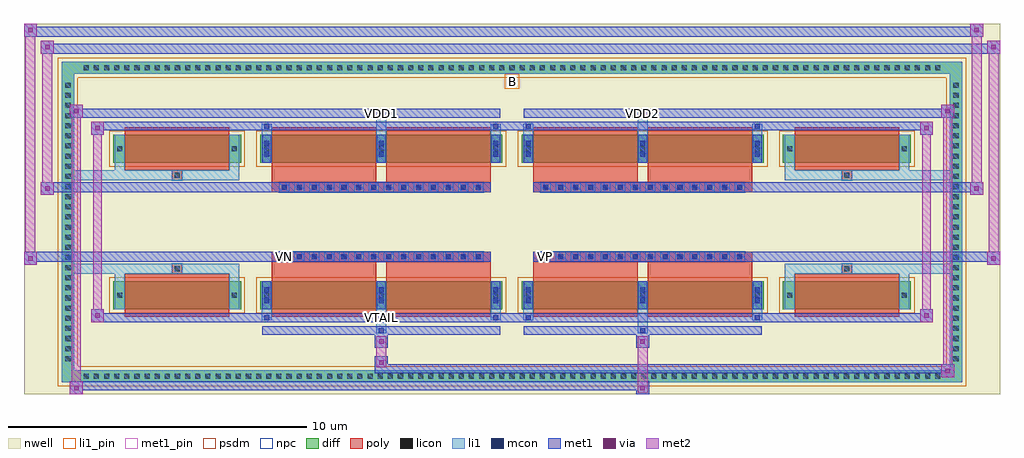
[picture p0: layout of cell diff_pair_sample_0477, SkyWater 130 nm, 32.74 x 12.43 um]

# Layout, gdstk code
import gdstk
lib = gdstk.Library(unit=1e-6, precision=5e-09)
def R(c, l, rs):  # rectangles x0, y0, x1, y1
    for r in rs: c.add(gdstk.rectangle(r[:2], r[2:], *l))
def A(c, l, x, y, w, h, nx, ny, dx, dy):  # array of equal rectangles
    R(c, l, [(x+i*dx, y+j*dy, x+i*dx+w, y+j*dy+h) for i in range(nx) for j in range(ny)])
def P(c, l, *ps):  # polygons
    for p in ps: c.add(gdstk.Polygon(p, *l))
nwell = (64, 20)
diff = (65, 20)
poly = (66, 20)
licon = (66, 44)
li1_pin = (67, 16)
li1 = (67, 20)
mcon = (67, 44)
met1_pin = (68, 16)
met1 = (68, 20)
via = (68, 44)
met2 = (69, 20)
psdm = (94, 20)
npc = (95, 20)

diff_pair_sample_0477 = lib.new_cell('diff_pair_sample_0477')
R(diff_pair_sample_0477, nwell, [(-16.37,-5.78,16.37,6.65), (-13.69,-3.97,-0.01,-0.805), (0.01,-3.97,13.69,-0.805), (-13.69,0.805,-0.01,3.97), (0.01,0.805,13.69,3.97)])
A(diff_pair_sample_0477, diff, -14.485, -5.38, 0.41, 0.41, 85, 2, 0.34, 10.35)
A(diff_pair_sample_0477, diff, -15.1, -4.795, 0.41, 0.41, 1, 28, 0, 0.34)
A(diff_pair_sample_0477, diff, 14.69, -4.795, 0.41, 0.41, 1, 28, 0, 0.34)
R(diff_pair_sample_0477, diff, [(-14.485,-5.38,14.485,-4.97), (-15.1,-4.795,-14.69,4.795), (14.69,-4.795,15.1,4.795), (-13.38,-2.925,-9.09,-1.985), (-8.45,-2.925,-0.32,-1.985), (0.32,-2.925,8.45,-1.985), (9.09,-2.925,13.38,-1.985), (-13.38,1.985,-9.09,2.925), (-8.45,1.985,-0.32,2.925), (0.32,1.985,8.45,2.925), (9.09,1.985,13.38,2.925), (-14.485,4.97,14.485,5.38)])
P(diff_pair_sample_0477, diff, [(15.1,5.38),(-15.1,5.38),(-15.1,-4.97),(-14.69,-4.97),(-14.69,4.97),(14.69,4.97),(14.69,-4.97),(-14.69,-4.97),(-15.1,-4.97),(-15.1,-5.38),(15.1,-5.38)])
A(diff_pair_sample_0477, poly, -7.8, -1.335, 0.33, 0.33, 14, 2, 0.5, 2.34)
A(diff_pair_sample_0477, poly, 0.97, -1.335, 0.33, 0.33, 14, 2, 0.5, 2.34)
R(diff_pair_sample_0477, poly, [(-12.99,-3.175,-9.48,-1.735), (-8.06,-3.175,-4.55,-1.735), (-4.22,-3.175,-0.71,-1.735), (0.71,-3.175,4.22,-1.735), (4.55,-3.175,8.06,-1.735), (9.48,-3.175,12.99,-1.735), (-11.4,-1.735,-11.07,-1.405), (-11.4,-1.735,-11.07,-1.405), (-8.06,-1.735,-4.55,-1.335), (-4.22,-1.735,-0.71,-1.335), (0.71,-1.735,4.22,-1.335), (4.55,-1.735,8.06,-1.335), (11.07,-1.735,11.4,-1.405), (11.07,-1.735,11.4,-1.405), (-8.06,-1.335,-0.71,-1.005), (0.71,-1.335,8.06,-1.005), (-8.06,1.005,-0.71,1.335), (0.71,1.005,8.06,1.335), (-8.06,1.335,-4.55,1.735), (-4.22,1.335,-0.71,1.735), (0.71,1.335,4.22,1.735), (4.55,1.335,8.06,1.735), (-11.4,1.405,-11.07,1.735), (-11.4,1.405,-11.07,1.735), (11.07,1.405,11.4,1.735), (11.07,1.405,11.4,1.735), (-12.99,1.735,-9.48,3.175), (-8.06,1.735,-4.55,3.175), (-4.22,1.735,-0.71,3.175), (0.71,1.735,4.22,3.175), (4.55,1.735,8.06,3.175), (9.48,1.735,12.99,3.175)])
A(diff_pair_sample_0477, licon, -14.365, -5.26, 0.17, 0.17, 85, 2, 0.34, 10.35)
A(diff_pair_sample_0477, licon, -14.98, -4.675, 0.17, 0.17, 1, 28, 0, 0.34)
A(diff_pair_sample_0477, licon, 14.81, -4.675, 0.17, 0.17, 1, 28, 0, 0.34)
A(diff_pair_sample_0477, licon, -8.31, -2.54, 0.17, 0.17, 3, 2, 3.84, 4.91)
A(diff_pair_sample_0477, licon, 0.46, -2.54, 0.17, 0.17, 3, 2, 3.84, 4.91)
A(diff_pair_sample_0477, licon, -7.72, -1.255, 0.17, 0.17, 14, 2, 0.5, 2.34)
A(diff_pair_sample_0477, licon, 1.05, -1.255, 0.17, 0.17, 14, 2, 0.5, 2.34)
R(diff_pair_sample_0477, licon, [(-13.24,-2.54,-13.07,-2.37), (-9.4,-2.54,-9.23,-2.37), (9.23,-2.54,9.4,-2.37), (13.07,-2.54,13.24,-2.37), (-11.32,-1.655,-11.15,-1.485), (11.15,-1.655,11.32,-1.485), (-11.32,1.485,-11.15,1.655), (11.15,1.485,11.32,1.655), (-13.24,2.37,-13.07,2.54), (-9.4,2.37,-9.23,2.54), (9.23,2.37,9.4,2.54), (13.07,2.37,13.24,2.54)])
R(diff_pair_sample_0477, li1_pin, [(-0.25,4.47,0.25,4.97)])
A(diff_pair_sample_0477, li1, -14.445, -5.34, 0.33, 0.33, 85, 2, 0.34, 10.35)
A(diff_pair_sample_0477, li1, -15.06, -4.755, 0.33, 0.33, 1, 28, 0, 0.34)
A(diff_pair_sample_0477, li1, 14.73, -4.755, 0.33, 0.33, 1, 28, 0, 0.34)
A(diff_pair_sample_0477, li1, -8.39, -2.925, 0.33, 0.94, 3, 2, 3.84, 4.91)
A(diff_pair_sample_0477, li1, 0.38, -2.925, 0.33, 0.94, 3, 2, 3.84, 4.91)
A(diff_pair_sample_0477, li1, -8.31, -2.72, 0.17, 0.17, 3, 2, 3.84, 0.36)
A(diff_pair_sample_0477, li1, -8.31, -2.72, 0.17, 0.53, 3, 2, 3.84, 4.91)
A(diff_pair_sample_0477, li1, 0.46, -2.72, 0.17, 0.17, 3, 2, 3.84, 0.36)
A(diff_pair_sample_0477, li1, 0.46, -2.72, 0.17, 0.53, 3, 2, 3.84, 4.91)
A(diff_pair_sample_0477, li1, -8.39, -2.62, 0.33, 0.33, 3, 2, 3.84, 4.91)
A(diff_pair_sample_0477, li1, 0.38, -2.62, 0.33, 0.33, 3, 2, 3.84, 4.91)
A(diff_pair_sample_0477, li1, -7.8, -1.335, 0.33, 0.33, 14, 2, 0.5, 2.34)
A(diff_pair_sample_0477, li1, 0.97, -1.335, 0.33, 0.33, 14, 2, 0.5, 2.34)
A(diff_pair_sample_0477, li1, -8.31, 2.19, 0.17, 0.17, 3, 2, 3.84, 0.36)
A(diff_pair_sample_0477, li1, 0.46, 2.19, 0.17, 0.17, 3, 2, 3.84, 0.36)
R(diff_pair_sample_0477, li1, [(-15.1,-5.38,-14.69,-4.97), (-15.1,-5.38,-14.69,-4.97), (-14.69,-5.38,14.69,-4.97), (14.69,-5.38,15.1,-4.97), (14.69,-5.38,15.1,-4.97), (-15.1,-4.97,-14.69,4.97), (14.69,-4.97,15.1,4.97), (-4.55,-3.73,-4.22,-2.925), (-4.47,-3.73,-4.3,-3.56), (4.22,-3.73,4.55,-2.925), (4.3,-3.73,4.47,-3.56), (-8.39,-3.3,-8.06,-2.925), (-8.31,-3.3,-8.14,-3.13), (-0.71,-3.3,-0.38,-2.925), (-0.63,-3.3,-0.46,-3.13), (0.38,-3.3,0.71,-2.925), (0.46,-3.3,0.63,-3.13), (8.06,-3.3,8.39,-2.925), (8.14,-3.3,8.31,-3.13), (-13.32,-2.925,-12.99,-1.985), (-9.48,-2.925,-9.15,-1.985), (9.15,-2.925,9.48,-1.985), (12.99,-2.925,13.32,-1.985), (-13.32,-2.62,-12.99,-2.29), (-9.48,-2.62,-9.15,-2.29), (9.15,-2.62,9.48,-2.29), (12.99,-2.62,13.32,-2.29), (-13.32,-1.985,-12.99,-1.405), (-9.48,-1.985,-9.15,-1.405), (9.15,-1.985,9.48,-1.405), (12.99,-1.985,13.32,-1.405), (-15.1,-1.735,-11.4,-1.405), (-13.32,-1.735,-11.4,-1.405), (-11.4,-1.735,-11.07,-1.405), (-11.07,-1.735,-9.15,-1.405), (9.15,-1.735,11.07,-1.405), (11.07,-1.735,11.4,-1.405), (11.07,-1.735,15.1,-1.405), (11.4,-1.735,13.32,-1.405), (-15.1,1.405,-11.4,1.735), (-13.32,1.405,-11.4,1.735), (-13.32,1.405,-12.99,1.985), (-11.4,1.405,-11.07,1.735), (-11.07,1.405,-9.15,1.735), (-9.48,1.405,-9.15,1.985), (9.15,1.405,11.07,1.735), (9.15,1.405,9.48,1.985), (11.07,1.405,11.4,1.735), (11.07,1.405,15.1,1.735), (11.4,1.405,13.32,1.735), (12.99,1.405,13.32,1.985), (-13.32,1.985,-12.99,2.925), (-9.48,1.985,-9.15,2.925), (9.15,1.985,9.48,2.925), (12.99,1.985,13.32,2.925), (-13.32,2.29,-12.99,2.62), (-9.48,2.29,-9.15,2.62), (9.15,2.29,9.48,2.62), (12.99,2.29,13.32,2.62), (-8.39,2.925,-8.06,3.3), (-4.55,2.925,-4.22,3.73), (-0.71,2.925,-0.38,3.3), (0.38,2.925,0.71,3.3), (4.22,2.925,4.55,3.73), (8.06,2.925,8.39,3.3), (-8.31,3.13,-8.14,3.3), (-0.63,3.13,-0.46,3.3), (0.46,3.13,0.63,3.3), (8.14,3.13,8.31,3.3), (-4.47,3.56,-4.3,3.73), (4.3,3.56,4.47,3.73), (-15.1,4.97,-14.69,5.38), (-15.1,4.97,-14.69,5.38), (-14.69,4.97,14.69,5.38), (14.69,4.97,15.1,5.38), (14.69,4.97,15.1,5.38)])
A(diff_pair_sample_0477, mcon, -8.31, -2.72, 0.17, 0.17, 3, 2, 3.84, 0.36)
A(diff_pair_sample_0477, mcon, 0.46, -2.72, 0.17, 0.17, 3, 2, 3.84, 0.36)
A(diff_pair_sample_0477, mcon, -7.72, -1.255, 0.17, 0.17, 14, 2, 0.5, 2.34)
A(diff_pair_sample_0477, mcon, 1.05, -1.255, 0.17, 0.17, 14, 2, 0.5, 2.34)
A(diff_pair_sample_0477, mcon, -8.31, 2.19, 0.17, 0.17, 3, 2, 3.84, 0.36)
A(diff_pair_sample_0477, mcon, 0.46, 2.19, 0.17, 0.17, 3, 2, 3.84, 0.36)
R(diff_pair_sample_0477, mcon, [(-4.47,-3.73,-4.3,-3.56), (4.3,-3.73,4.47,-3.56), (-8.31,-3.3,-8.14,-3.13), (-0.63,-3.3,-0.46,-3.13), (0.46,-3.3,0.63,-3.13), (8.14,-3.3,8.31,-3.13), (-8.31,3.13,-8.14,3.3), (-0.63,3.13,-0.46,3.3), (0.46,3.13,0.63,3.3), (8.14,3.13,8.31,3.3), (-4.47,3.56,-4.3,3.73), (4.3,3.56,4.47,3.73)])
R(diff_pair_sample_0477, met1_pin, [(-4.52,-3.34,-4.25,-3.07), (-7.77,-1.295,-7.5,-1.025), (1,-1.295,1.27,-1.025), (-4.52,3.52,-4.25,3.79), (4.25,3.52,4.52,3.79)])
A(diff_pair_sample_0477, met1, -8.37, -2.925, 0.29, 0.94, 3, 2, 3.84, 4.91)
A(diff_pair_sample_0477, met1, 0.4, -2.925, 0.29, 0.94, 3, 2, 3.84, 4.91)
A(diff_pair_sample_0477, met1, -8.37, -2.78, 0.29, 0.29, 3, 2, 3.84, 0.36)
A(diff_pair_sample_0477, met1, 0.4, -2.78, 0.29, 0.29, 3, 2, 3.84, 0.36)
A(diff_pair_sample_0477, met1, -7.78, -1.315, 0.29, 0.29, 14, 2, 0.5, 2.34)
A(diff_pair_sample_0477, met1, 0.99, -1.315, 0.29, 0.29, 14, 2, 0.5, 2.34)
A(diff_pair_sample_0477, met1, -8.37, 2.13, 0.29, 0.29, 3, 2, 3.84, 0.36)
A(diff_pair_sample_0477, met1, 0.4, 2.13, 0.29, 0.29, 3, 2, 3.84, 0.36)
R(diff_pair_sample_0477, met1, [(-14.83,-5.78,-14.4,-5.35), (4.17,-5.78,4.6,-5.35), (-14.83,-5.64,4.6,-5.35), (14.4,-5.21,14.83,-4.78), (-4.6,-5.07,14.83,-4.78), (-4.6,-4.93,-4.17,-4.5), (-4.6,-4.22,-4.17,-3.79), (4.17,-4.22,4.6,-3.79), (-8.37,-3.79,-0.4,-3.5), (-4.53,-3.79,-4.24,-3.5), (0.4,-3.79,8.37,-3.5), (4.24,-3.79,4.53,-3.5), (-14.12,-3.36,-13.69,-2.93), (-14.12,-3.36,-8.37,-3.07), (-8.37,-3.36,-8.08,-3.07), (-8.37,-3.36,-0.4,-3.07), (-0.69,-3.36,-0.4,-3.07), (-0.4,-3.36,0.4,-3.07), (0.4,-3.36,0.69,-3.07), (0.4,-3.36,8.37,-3.07), (8.08,-3.36,8.37,-3.07), (8.37,-3.36,14.12,-3.07), (13.69,-3.36,14.12,-2.93), (-16.37,-1.435,-15.94,-1.005), (15.94,-1.435,16.37,-1.005), (-16.37,-1.335,-0.71,-1.005), (-8.06,-1.335,-0.71,-1.005), (0.71,-1.335,8.06,-1.005), (0.71,-1.335,16.37,-1.005), (-15.8,0.905,-15.37,1.335), (15.37,0.905,15.8,1.335), (-15.8,1.005,-8.06,1.335), (-8.06,1.005,-0.71,1.335), (0.71,1.005,8.06,1.335), (8.06,1.005,15.8,1.335), (-14.12,2.93,-13.69,3.36), (13.69,2.93,14.12,3.36), (-14.12,3.07,-8.37,3.36), (-8.37,3.07,-8.08,3.36), (-8.37,3.07,-0.4,3.36), (-0.69,3.07,-0.4,3.36), (-0.4,3.07,0.4,3.36), (0.4,3.07,0.69,3.36), (0.4,3.07,8.37,3.36), (8.08,3.07,8.37,3.36), (8.37,3.07,14.12,3.36), (-14.83,3.5,-14.4,3.93), (-14.83,3.5,-8.37,3.79), (-8.37,3.5,-0.4,3.79), (-4.53,3.5,-4.24,3.79), (0.4,3.5,8.37,3.79), (4.24,3.5,4.53,3.79), (8.37,3.5,14.83,3.79), (14.4,3.5,14.83,3.93), (-15.8,5.65,-15.37,6.08), (-15.8,5.65,-13.69,5.98), (-13.69,5.65,13.69,5.98), (13.69,5.65,16.37,5.98), (15.94,5.65,16.37,6.08), (-16.37,6.22,-15.94,6.65), (-16.37,6.22,-13.69,6.55), (-13.69,6.22,13.69,6.55), (13.69,6.22,15.8,6.55), (15.37,6.22,15.8,6.65)])
R(diff_pair_sample_0477, via, [(-14.69,-5.64,-14.54,-5.49), (4.31,-5.64,4.46,-5.49), (14.54,-5.07,14.69,-4.92), (-4.46,-4.79,-4.31,-4.64), (-4.46,-4.08,-4.31,-3.93), (4.31,-4.08,4.46,-3.93), (-13.98,-3.22,-13.83,-3.07), (13.83,-3.22,13.98,-3.07), (-16.23,-1.295,-16.08,-1.145), (16.08,-1.295,16.23,-1.145), (-15.66,1.045,-15.51,1.195), (15.51,1.045,15.66,1.195), (-13.98,3.07,-13.83,3.22), (13.83,3.07,13.98,3.22), (-14.69,3.64,-14.54,3.79), (14.54,3.64,14.69,3.79), (-15.66,5.79,-15.51,5.94), (16.08,5.79,16.23,5.94), (-16.23,6.36,-16.08,6.51), (15.51,6.36,15.66,6.51)])
R(diff_pair_sample_0477, met2, [(-14.83,-5.78,-14.4,-5.35), (-14.76,-5.78,-14.47,3.93), (-14.47,-5.78,-14.4,-5.35), (-14.78,-5.73,-14.45,-5.4), (4.22,-5.73,4.55,-5.4), (4.22,-5.4,4.55,-4.17), (14.4,-5.21,14.83,-4.78), (14.47,-5.21,14.76,3.93), (14.76,-5.21,14.83,-4.78), (14.45,-5.16,14.78,-4.83), (-4.55,-4.88,-4.22,-4.55), (-4.55,-4.55,-4.22,-4.17), (-4.55,-4.17,-4.22,-3.84), (4.22,-4.17,4.55,-3.84), (-14.12,-3.36,-13.69,-2.93), (-14.05,-3.36,-13.76,3.36), (-13.76,-3.36,-13.69,-2.93), (13.69,-3.36,14.12,-2.93), (13.76,-3.36,14.05,3.36), (14.05,-3.36,14.12,-2.93), (-14.07,-3.31,-13.74,-2.98), (13.74,-3.31,14.07,-2.98), (-16.37,-1.435,-15.94,-1.005), (-16.32,-1.435,-15.99,6.65), (-15.99,-1.435,-15.94,-1.005), (15.94,-1.435,16.37,-1.005), (15.99,-1.435,16.32,6.08), (16.32,-1.435,16.37,-1.005), (-16.32,-1.385,-15.99,-1.055), (15.99,-1.385,16.32,-1.055), (-15.8,0.905,-15.37,1.335), (-15.75,0.905,-15.42,6.08), (-15.42,0.905,-15.37,1.335), (15.37,0.905,15.8,1.335), (15.42,0.905,15.75,6.65), (15.75,0.905,15.8,1.335), (-15.75,0.955,-15.42,1.285), (15.42,0.955,15.75,1.285), (-14.12,2.93,-13.69,3.36), (-13.76,2.93,-13.69,3.36), (13.69,2.93,14.12,3.36), (14.05,2.93,14.12,3.36), (-14.07,2.98,-13.74,3.31), (13.74,2.98,14.07,3.31), (-14.83,3.5,-14.4,3.93), (-14.47,3.5,-14.4,3.93), (14.4,3.5,14.83,3.93), (14.76,3.5,14.83,3.93), (-14.78,3.55,-14.45,3.88), (14.45,3.55,14.78,3.88), (-15.8,5.65,-15.37,6.08), (-15.42,5.65,-15.37,6.08), (15.94,5.65,16.37,6.08), (16.32,5.65,16.37,6.08), (-15.75,5.7,-15.42,6.03), (15.99,5.7,16.32,6.03), (-16.37,6.22,-15.94,6.65), (-15.99,6.22,-15.94,6.65), (15.37,6.22,15.8,6.65), (15.75,6.22,15.8,6.65), (-16.32,6.27,-15.99,6.6), (15.42,6.27,15.75,6.6)])
R(diff_pair_sample_0477, psdm, [(-13.51,-3.055,-8.96,-1.855), (-8.58,-3.055,-0.19,-1.855), (0.19,-3.055,8.58,-1.855), (8.96,-3.055,13.51,-1.855), (-13.51,1.855,-8.96,3.055), (-8.58,1.855,-0.19,3.055), (0.19,1.855,8.58,3.055), (8.96,1.855,13.51,3.055)])
P(diff_pair_sample_0477, psdm, [(15.23,5.51),(-15.23,5.51),(-15.23,-4.84),(-14.56,-4.84),(-14.56,4.84),(14.56,4.84),(14.56,-4.84),(-14.56,-4.84),(-15.23,-4.84),(-15.23,-5.51),(15.23,-5.51)])
A(diff_pair_sample_0477, npc, -7.82, -1.355, 0.37, 0.37, 14, 2, 0.5, 2.34)
A(diff_pair_sample_0477, npc, 0.95, -1.355, 0.37, 0.37, 14, 2, 0.5, 2.34)
R(diff_pair_sample_0477, npc, [(-11.42,-1.755,-11.05,-1.385), (11.05,-1.755,11.42,-1.385), (-7.82,-1.355,-6.95,-0.985), (-7.82,-1.355,-6.95,-0.985), (-7.32,-1.355,-6.45,-0.985), (-7.32,-1.355,-6.45,-0.985), (-6.82,-1.355,-5.95,-0.985), (-6.82,-1.355,-5.95,-0.985), (-6.32,-1.355,-5.45,-0.985), (-6.32,-1.355,-5.45,-0.985), (-5.82,-1.355,-4.95,-0.985), (-5.82,-1.355,-4.95,-0.985), (-5.32,-1.355,-4.45,-0.985), (-5.32,-1.355,-4.45,-0.985), (-4.82,-1.355,-3.95,-0.985), (-4.82,-1.355,-3.95,-0.985), (-4.32,-1.355,-3.45,-0.985), (-4.32,-1.355,-3.45,-0.985), (-3.82,-1.355,-2.95,-0.985), (-3.82,-1.355,-2.95,-0.985), (-3.32,-1.355,-2.45,-0.985), (-3.32,-1.355,-2.45,-0.985), (-2.82,-1.355,-1.95,-0.985), (-2.82,-1.355,-1.95,-0.985), (-2.32,-1.355,-1.45,-0.985), (-2.32,-1.355,-1.45,-0.985), (-1.82,-1.355,-0.95,-0.985), (-1.82,-1.355,-0.95,-0.985), (0.95,-1.355,1.82,-0.985), (0.95,-1.355,1.82,-0.985), (1.45,-1.355,2.32,-0.985), (1.45,-1.355,2.32,-0.985), (1.95,-1.355,2.82,-0.985), (1.95,-1.355,2.82,-0.985), (2.45,-1.355,3.32,-0.985), (2.45,-1.355,3.32,-0.985), (2.95,-1.355,3.82,-0.985), (2.95,-1.355,3.82,-0.985), (3.45,-1.355,4.32,-0.985), (3.45,-1.355,4.32,-0.985), (3.95,-1.355,4.82,-0.985), (3.95,-1.355,4.82,-0.985), (4.45,-1.355,5.32,-0.985), (4.45,-1.355,5.32,-0.985), (4.95,-1.355,5.82,-0.985), (4.95,-1.355,5.82,-0.985), (5.45,-1.355,6.32,-0.985), (5.45,-1.355,6.32,-0.985), (5.95,-1.355,6.82,-0.985), (5.95,-1.355,6.82,-0.985), (6.45,-1.355,7.32,-0.985), (6.45,-1.355,7.32,-0.985), (6.95,-1.355,7.82,-0.985), (6.95,-1.355,7.82,-0.985), (-7.82,0.985,-6.95,1.355), (-7.82,0.985,-6.95,1.355), (-7.32,0.985,-6.45,1.355), (-7.32,0.985,-6.45,1.355), (-6.82,0.985,-5.95,1.355), (-6.82,0.985,-5.95,1.355), (-6.32,0.985,-5.45,1.355), (-6.32,0.985,-5.45,1.355), (-5.82,0.985,-4.95,1.355), (-5.82,0.985,-4.95,1.355), (-5.32,0.985,-4.45,1.355), (-5.32,0.985,-4.45,1.355), (-4.82,0.985,-3.95,1.355), (-4.82,0.985,-3.95,1.355), (-4.32,0.985,-3.45,1.355), (-4.32,0.985,-3.45,1.355), (-3.82,0.985,-2.95,1.355), (-3.82,0.985,-2.95,1.355), (-3.32,0.985,-2.45,1.355), (-3.32,0.985,-2.45,1.355), (-2.82,0.985,-1.95,1.355), (-2.82,0.985,-1.95,1.355), (-2.32,0.985,-1.45,1.355), (-2.32,0.985,-1.45,1.355), (-1.82,0.985,-0.95,1.355), (-1.82,0.985,-0.95,1.355), (0.95,0.985,1.82,1.355), (0.95,0.985,1.82,1.355), (1.45,0.985,2.32,1.355), (1.45,0.985,2.32,1.355), (1.95,0.985,2.82,1.355), (1.95,0.985,2.82,1.355), (2.45,0.985,3.32,1.355), (2.45,0.985,3.32,1.355), (2.95,0.985,3.82,1.355), (2.95,0.985,3.82,1.355), (3.45,0.985,4.32,1.355), (3.45,0.985,4.32,1.355), (3.95,0.985,4.82,1.355), (3.95,0.985,4.82,1.355), (4.45,0.985,5.32,1.355), (4.45,0.985,5.32,1.355), (4.95,0.985,5.82,1.355), (4.95,0.985,5.82,1.355), (5.45,0.985,6.32,1.355), (5.45,0.985,6.32,1.355), (5.95,0.985,6.82,1.355), (5.95,0.985,6.82,1.355), (6.45,0.985,7.32,1.355), (6.45,0.985,7.32,1.355), (6.95,0.985,7.82,1.355), (6.95,0.985,7.82,1.355), (-11.42,1.385,-11.05,1.755), (11.05,1.385,11.42,1.755)])
diff_pair_sample_0477.add(gdstk.Label('VTAIL', (-4.385,-3.205), layer=68, texttype=5))
diff_pair_sample_0477.add(gdstk.Label('VN', (-7.635,-1.16), layer=68, texttype=5))
diff_pair_sample_0477.add(gdstk.Label('VP', (1.135,-1.16), layer=68, texttype=5))
diff_pair_sample_0477.add(gdstk.Label('B', (0,4.72), layer=67, texttype=5))
diff_pair_sample_0477.add(gdstk.Label('VDD2', (4.385,3.655), layer=68, texttype=5))
diff_pair_sample_0477.add(gdstk.Label('VDD1', (-4.385,3.655), layer=68, texttype=5))

lib.write_gds('diff_pair_sample_0477.gds')
